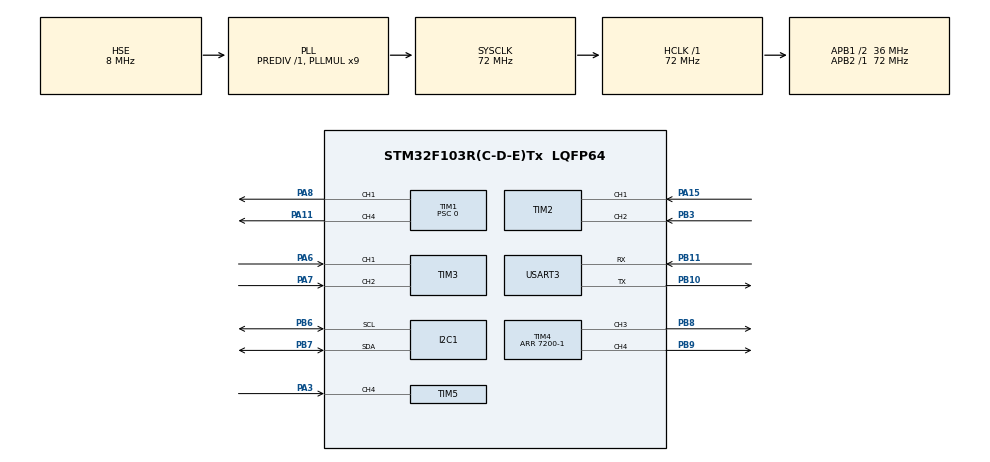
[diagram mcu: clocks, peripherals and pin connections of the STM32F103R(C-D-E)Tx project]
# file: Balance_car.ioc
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Dma.Request0=USART3_RX
Dma.USART3_RX.0.Direction=DMA_PERIPH_TO_MEMORY
Dma.USART3_RX.0.Instance=DMA1_Channel3
Dma.USART3_RX.0.MemDataAlignment=DMA_MDATAALIGN_BYTE
Dma.USART3_RX.0.MemInc=DMA_MINC_ENABLE
Dma.USART3_RX.0.Mode=DMA_NORMAL
Dma.USART3_RX.0.PeriphDataAlignment=DMA_PDATAALIGN_BYTE
Dma.USART3_RX.0.PeriphInc=DMA_PINC_DISABLE
Dma.USART3_RX.0.Priority=DMA_PRIORITY_MEDIUM
Mcu.Family=STM32F1
Mcu.Name=STM32F103R(C-D-E)Tx
Mcu.Package=LQFP64
NVIC.DMA1_Channel3_IRQn=true\:0\:0\:false\:true\:true\:1\:false\:false\:true
NVIC.PriorityGroup=NVIC_PRIORITYGROUP_4
NVIC.TIM5_IRQn=true\:7\:0\:true\:false\:false\:true\:false\:true
NVIC.TIM6_IRQn=true\:10\:0\:true\:false\:true\:true\:true\:true
NVIC.USART3_IRQn=true\:0\:0\:false\:false\:false\:true\:false\:true
PA11.Signal=S_TIM1_CH4
PA13.Mode=Serial_Wire
PA13.Signal=SYS_JTMS-SWDIO
PA14.Mode=Serial_Wire
PA14.Signal=SYS_JTCK-SWCLK
PA15.Signal=S_TIM2_CH1_ETR
PA3.GPIO_Mode=GPIO_MODE_INPUT
PA3.GPIO_PuPd=GPIO_PULLUP
PA3.Signal=S_TIM5_CH4
PA6.Signal=S_TIM3_CH1
PA7.Signal=S_TIM3_CH2
PA8.Signal=S_TIM1_CH1
PB10.Mode=Asynchronous
PB10.Signal=USART3_TX
PB11.GPIO_PuPd=GPIO_PULLDOWN
PB11.Mode=Asynchronous
PB11.Signal=USART3_RX
PB3.Signal=S_TIM2_CH2
PB6.Mode=I2C
PB6.Signal=I2C1_SCL
PB7.Mode=I2C
PB7.Signal=I2C1_SDA
PB8.Signal=S_TIM4_CH3
PB9.Signal=S_TIM4_CH4
PD0-OSC_IN.Mode=HSE-External-Oscillator
PD0-OSC_IN.Signal=RCC_OSC_IN
PD1-OSC_OUT.Mode=HSE-External-Oscillator
PD1-OSC_OUT.Signal=RCC_OSC_OUT
ProjectManager.HeapSize=0x400
ProjectManager.StackSize=0x800
ProjectManager.TargetToolchain=MDK-ARM V5.27
RCC.AHBFreq_Value=72000000
RCC.APB1CLKDivider=RCC_HCLK_DIV2
RCC.APB1Freq_Value=36000000
RCC.APB1TimFreq_Value=72000000
RCC.APB2Freq_Value=72000000
RCC.APB2TimFreq_Value=72000000
RCC.HCLKFreq_Value=72000000
RCC.PLLMUL=RCC_PLL_MUL9
RCC.PLLSourceVirtual=RCC_PLLSOURCE_HSE
RCC.SYSCLKFreq_VALUE=72000000
RCC.SYSCLKSource=RCC_SYSCLKSOURCE_PLLCLK
RCC.USBFreq_Value=72000000
SH.S_TIM1_CH1.0=TIM1_CH1,PWM Generation1 CH1
SH.S_TIM1_CH4.0=TIM1_CH4,PWM Generation4 CH4
SH.S_TIM2_CH1_ETR.0=TIM2_CH1,Encoder_Interface
SH.S_TIM2_CH2.0=TIM2_CH2,Encoder_Interface
SH.S_TIM3_CH1.0=TIM3_CH1,Encoder_Interface
SH.S_TIM3_CH2.0=TIM3_CH2,Encoder_Interface
SH.S_TIM4_CH3.0=TIM4_CH3,PWM Generation3 CH3
SH.S_TIM4_CH4.0=TIM4_CH4,PWM Generation4 CH4
SH.S_TIM5_CH4.0=TIM5_CH4,Input_Capture4_from_TI4
TIM1.AutoReloadPreload=TIM_AUTORELOAD_PRELOAD_ENABLE
TIM1.Channel-PWM\ Generation1\ CH1=TIM_CHANNEL_1
TIM1.Channel-PWM\ Generation4\ CH4=TIM_CHANNEL_4
TIM1.Period=7200-1
TIM1.Prescaler=0
TIM2.EncoderMode=TIM_ENCODERMODE_TI12
TIM2.IC1Filter=12
TIM2.IC2Filter=12
TIM3.EncoderMode=TIM_ENCODERMODE_TI12
TIM3.IC1Filter=12
TIM3.IC2Filter=12
TIM4.AutoReloadPreload=TIM_AUTORELOAD_PRELOAD_ENABLE
TIM4.Channel-PWM\ Generation3\ CH3=TIM_CHANNEL_3
TIM4.Channel-PWM\ Generation4\ CH4=TIM_CHANNEL_4
TIM4.Period=7200-1
TIM5.AutoReloadPreload=TIM_AUTORELOAD_PRELOAD_DISABLE
TIM5.Channel-Input_Capture4_from_TI4=TIM_CHANNEL_4
TIM5.ICFilter_CH4=8
TIM5.ICPolarity_CH4=TIM_INPUTCHANNELPOLARITY_FALLING
TIM5.Prescaler=72-1
TIM6.AutoReloadPreload=TIM_AUTORELOAD_PRELOAD_ENABLE
TIM6.Period=1000-1
TIM6.Prescaler=72-1
USART3.VirtualMode=VM_ASYNC
VP_TIM1_VS_ClockSourceINT.Mode=Internal
VP_TIM4_VS_ClockSourceINT.Mode=Internal
VP_TIM6_VS_ClockSourceINT.Mode=Enable_Timer
board=custom

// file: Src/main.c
/* USER CODE BEGIN Header */
/**
  ******************************************************************************
  * @file           : main.c
  * @brief          : Main program body
  ******************************************************************************
  * @attention
  *
  * Copyright (c) 2023 STMicroelectronics.
  * All rights reserved.
  *
  * This software is licensed under terms that can be found in the LICENSE file
  * in the root directory of this software component.
  * If no LICENSE file comes with this software, it is provided AS-IS.
  *
  ******************************************************************************
  */
/* USER CODE END Header */
#include "main.h"
#include "dma.h"
#include "i2c.h"
#include "tim.h"
#include "usart.h"
#include "gpio.h"

/* USER CODE BEGIN Includes */
#include "bsp_motor.h"
#include "pid.h"
#include "imu.h"
#include "kalman_filter.h"
#include "ahrs.h"
#include "remote_ctrl.h"
/* USER CODE END Includes */

/* USER CODE BEGIN PD */
#define __IMUINIT__
/* USER CODE END PD */

void SystemClock_Config(void);
static void MX_NVIC_Init(void);

int main(void)
{

  /* MCU Configuration--------------------------------------------------------*/

  /* Reset of all peripherals, Initializes the Flash interface and the Systick. */
  HAL_Init();

  /* Configure the system clock */
  SystemClock_Config();

  /* Initialize all configured peripherals */
  MX_GPIO_Init();
  MX_DMA_Init();
  MX_TIM1_Init();
  MX_TIM2_Init();
  MX_TIM3_Init();
  MX_TIM4_Init();
  MX_TIM6_Init();
  MX_USART3_UART_Init();
  MX_I2C1_Init();
  MX_TIM5_Init();

  /* Initialize interrupts */
  MX_NVIC_Init();
  /* USER CODE BEGIN 2 */
	motor_pwm_enable();
	pid_init();
	imu_init();

	#ifdef __IMUINIT__
	CalibrationAcc();
	CalibrationGyro();
	#endif

	#ifdef __NORMAL__

	#endif

	ahrs_init();
//	imu_wit_init();
	MVF_init(&record2);
	MVF_init(&record3);
	kf_init();
	HAL_TIM_Base_Start_IT(&htim6);
	ppm_receive_init();

  /* USER CODE END 2 */

  /* Infinite loop */
  while (1)
  {

  }
}

void SystemClock_Config(void)
{
  RCC_OscInitTypeDef RCC_OscInitStruct = {0};
  RCC_ClkInitTypeDef RCC_ClkInitStruct = {0};

  /** Initializes the RCC Oscillators according to the specified parameters
  * in the RCC_OscInitTypeDef structure.
  */
  RCC_OscInitStruct.OscillatorType = RCC_OSCILLATORTYPE_LSI|RCC_OSCILLATORTYPE_HSE;
  RCC_OscInitStruct.HSEState = RCC_HSE_ON;
  RCC_OscInitStruct.HSEPredivValue = RCC_HSE_PREDIV_DIV1;
  RCC_OscInitStruct.HSIState = RCC_HSI_ON;
  RCC_OscInitStruct.LSIState = RCC_LSI_ON;
  RCC_OscInitStruct.PLL.PLLState = RCC_PLL_ON;
  RCC_OscInitStruct.PLL.PLLSource = RCC_PLLSOURCE_HSE;
  RCC_OscInitStruct.PLL.PLLMUL = RCC_PLL_MUL9;
  if (HAL_RCC_OscConfig(&RCC_OscInitStruct) != HAL_OK)
  {
    Error_Handler();
  }

  /** Initializes the CPU, AHB and APB buses clocks
  */
  RCC_ClkInitStruct.ClockType = RCC_CLOCKTYPE_HCLK|RCC_CLOCKTYPE_SYSCLK
                              |RCC_CLOCKTYPE_PCLK1|RCC_CLOCKTYPE_PCLK2;
  RCC_ClkInitStruct.SYSCLKSource = RCC_SYSCLKSOURCE_PLLCLK;
  RCC_ClkInitStruct.AHBCLKDivider = RCC_SYSCLK_DIV1;
  RCC_ClkInitStruct.APB1CLKDivider = RCC_HCLK_DIV2;
  RCC_ClkInitStruct.APB2CLKDivider = RCC_HCLK_DIV1;

  if (HAL_RCC_ClockConfig(&RCC_ClkInitStruct, FLASH_LATENCY_2) != HAL_OK)
  {
    Error_Handler();
  }
}

/**
  * @brief NVIC Configuration.
  * @retval None
  */
static void MX_NVIC_Init(void)
{
  /* DMA1_Channel3_IRQn interrupt configuration */
  HAL_NVIC_SetPriority(DMA1_Channel3_IRQn, 0, 0);
  HAL_NVIC_EnableIRQ(DMA1_Channel3_IRQn);
}

void Error_Handler(void)
{
  __disable_irq();
  while (1)
  {
  }
}
